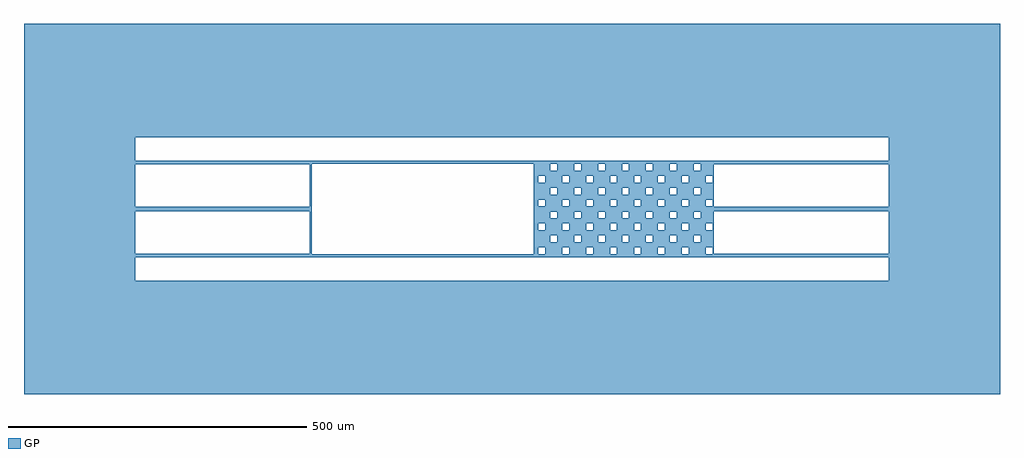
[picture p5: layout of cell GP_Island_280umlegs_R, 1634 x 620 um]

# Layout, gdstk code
import gdstk
lib = gdstk.Library(unit=1e-6, precision=1e-09)
def R(c, l, rs):  # rectangles x0, y0, x1, y1
    for r in rs: c.add(gdstk.rectangle(r[:2], r[2:], *l))
def P(c, l, *ps):  # polygons
    for p in ps: c.add(gdstk.Polygon(p, *l))
GP = (3, 0)

gp_island_280umlegs_r = lib.new_cell('GP_Island_280umlegs_R')
R(gp_island_280umlegs_r, GP, [(-817,-310,-631,310), (-631,-310,631,-120), (631,-310,817,310), (-631,-81,-337.501,-75), (-346.001,-81,43.999,-76), (-338.5,-81,-335.5,81), (337.5,-81,631,-75), (-631,-4,-335.5,4), (306.5,-4,631,4), (-631,75,-337.501,81), (337.5,75,631,81), (-346.001,76,43.999,81), (-631,120,631,310)])
P(gp_island_280umlegs_r, GP, [(36,-81),(36,81),(55.75,81),(55.75,55.75),(44.25,55.75),(44.25,44.25),(55.75,44.25),(55.75,15.75),(44.25,15.75),(44.25,4.25),(55.75,4.25),(55.75,-24.25),(44.25,-24.25),(44.25,-35.75),(55.75,-35.75),(55.75,-64.25),(44.25,-64.25),(44.25,-75.75),(55.75,-75.75),(55.75,81),(75.75,81),(75.75,75.75),(64.25,75.75),(64.25,64.25),(75.75,64.25),(75.75,35.75),(64.25,35.75),(64.25,24.25),(75.75,24.25),(75.75,-4.25),(64.25,-4.25),(64.25,-15.75),(75.75,-15.75),(75.75,-44.25),(64.25,-44.25),(64.25,-55.75),(75.75,-55.75),(75.75,81),(95.75,81),(95.75,55.75),(84.25,55.75),(84.25,44.25),(95.75,44.25),(95.75,15.75),(84.25,15.75),(84.25,4.25),(95.75,4.25),(95.75,-24.25),(84.25,-24.25),(84.25,-35.75),(95.75,-35.75),(95.75,-64.25),(84.25,-64.25),(84.25,-75.75),(95.75,-75.75),(95.75,81),(115.75,81),(115.75,75.75),(104.25,75.75),(104.25,64.25),(115.75,64.25),(115.75,35.75),(104.25,35.75),(104.25,24.25),(115.75,24.25),(115.75,-4.25),(104.25,-4.25),(104.25,-15.75),(115.75,-15.75),(115.75,-44.25),(104.25,-44.25),(104.25,-55.75),(115.75,-55.75),(115.75,81),(135.75,81),(135.75,55.75),(124.25,55.75),(124.25,44.25),(135.75,44.25),(135.75,15.75),(124.25,15.75),(124.25,4.25),(135.75,4.25),(135.75,-24.25),(124.25,-24.25),(124.25,-35.75),(135.75,-35.75),(135.75,-64.25),(124.25,-64.25),(124.25,-75.75),(135.75,-75.75),(135.75,81),(155.75,81),(155.75,75.75),(144.25,75.75),(144.25,64.25),(155.75,64.25),(155.75,35.75),(144.25,35.75),(144.25,24.25),(155.75,24.25),(155.75,-4.25),(144.25,-4.25),(144.25,-15.75),(155.75,-15.75),(155.75,-44.25),(144.25,-44.25),(144.25,-55.75),(155.75,-55.75),(155.75,81),(175.75,81),(175.75,55.75),(164.25,55.75),(164.25,44.25),(175.75,44.25),(175.75,15.75),(164.25,15.75),(164.25,4.25),(175.75,4.25),(175.75,-24.25),(164.25,-24.25),(164.25,-35.75),(175.75,-35.75),(175.75,-64.25),(164.25,-64.25),(164.25,-75.75),(175.75,-75.75),(175.75,81),(195.75,81),(195.75,75.75),(184.25,75.75),(184.25,64.25),(195.75,64.25),(195.75,35.75),(184.25,35.75),(184.25,24.25),(195.75,24.25),(195.75,-4.25),(184.25,-4.25),(184.25,-15.75),(195.75,-15.75),(195.75,-44.25),(184.25,-44.25),(184.25,-55.75),(195.75,-55.75),(195.75,-81)],
  [(195.75,-81),(195.75,81),(215.75,81),(215.75,55.75),(204.25,55.75),(204.25,44.25),(215.75,44.25),(215.75,15.75),(204.25,15.75),(204.25,4.25),(215.75,4.25),(215.75,-24.25),(204.25,-24.25),(204.25,-35.75),(215.75,-35.75),(215.75,-64.25),(204.25,-64.25),(204.25,-75.75),(215.75,-75.75),(215.75,81),(235.75,81),(235.75,75.75),(224.25,75.75),(224.25,64.25),(235.75,64.25),(235.75,35.75),(224.25,35.75),(224.25,24.25),(235.75,24.25),(235.75,-4.25),(224.25,-4.25),(224.25,-15.75),(235.75,-15.75),(235.75,-44.25),(224.25,-44.25),(224.25,-55.75),(235.75,-55.75),(235.75,81),(255.75,81),(255.75,55.75),(244.25,55.75),(244.25,44.25),(255.75,44.25),(255.75,15.75),(244.25,15.75),(244.25,4.25),(255.75,4.25),(255.75,-24.25),(244.25,-24.25),(244.25,-35.75),(255.75,-35.75),(255.75,-64.25),(244.25,-64.25),(244.25,-75.75),(255.75,-75.75),(255.75,81),(275.75,81),(275.75,75.75),(264.25,75.75),(264.25,64.25),(275.75,64.25),(275.75,35.75),(264.25,35.75),(264.25,24.25),(275.75,24.25),(275.75,-4.25),(264.25,-4.25),(264.25,-15.75),(275.75,-15.75),(275.75,-44.25),(264.25,-44.25),(264.25,-55.75),(275.75,-55.75),(275.75,81),(295.75,81),(295.75,55.75),(284.25,55.75),(284.25,44.25),(295.75,44.25),(295.75,15.75),(284.25,15.75),(284.25,4.25),(295.75,4.25),(295.75,-24.25),(284.25,-24.25),(284.25,-35.75),(295.75,-35.75),(295.75,-64.25),(284.25,-64.25),(284.25,-75.75),(295.75,-75.75),(295.75,81),(315.75,81),(315.75,75.75),(304.25,75.75),(304.25,64.25),(315.75,64.25),(315.75,35.75),(304.25,35.75),(304.25,24.25),(315.75,24.25),(315.75,-4.25),(304.25,-4.25),(304.25,-15.75),(315.75,-15.75),(315.75,-44.25),(304.25,-44.25),(304.25,-55.75),(315.75,-55.75),(315.75,81),(335.75,81),(335.75,55.75),(324.25,55.75),(324.25,44.25),(335.75,44.25),(335.75,15.75),(324.25,15.75),(324.25,4.25),(335.75,4.25),(335.75,-24.25),(324.25,-24.25),(324.25,-35.75),(335.75,-35.75),(335.75,-64.25),(324.25,-64.25),(324.25,-75.75),(335.75,-75.75),(335.75,81),(338,81),(338,-81)])

lib.write_gds('GP_Island_280umlegs_R.gds')
